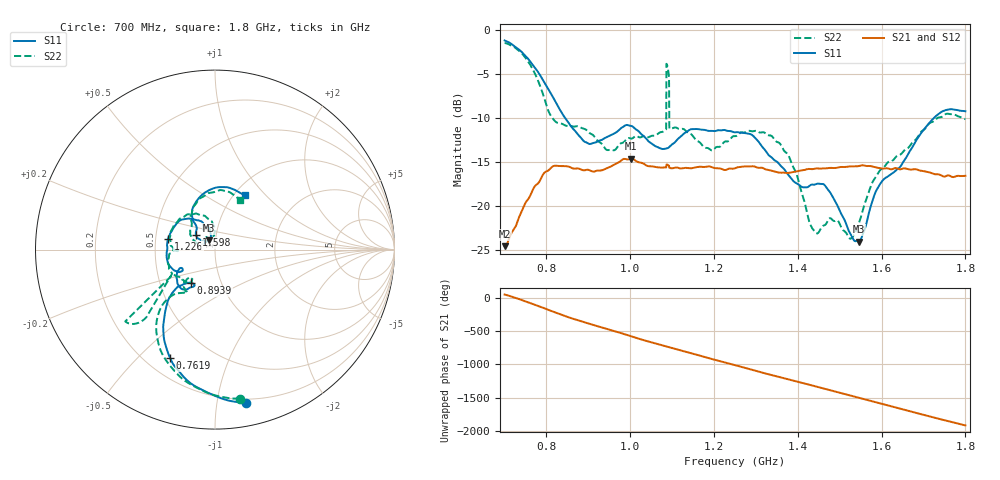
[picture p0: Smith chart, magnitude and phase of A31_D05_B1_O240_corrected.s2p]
! Created with skrf 1.9.0 (http://scikit-rf.org).
# Hz S RI R 50.0
!freq ReS11 ImS11 ReS21 ImS21 ReS12 ImS12 ReS22 ImS22
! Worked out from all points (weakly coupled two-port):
!   1601 points, 700 MHz to 1.8 GHz, reference 50 ohm
!   highest |S21| = -14.64 dB at 1.002 GHz (marker M1); lowest = -24.6 dB at 700 MHz (marker M2)
!   lowest |S11| = -24.1 dB at 1.546 GHz (marker M3), VSWR 1.13, Z = 46.3 + j4.79 ohm
!   |S11| at or under -10 dB: 844.1 MHz to 1.726 GHz (881.4 MHz wide, 68.6 % of centre)
!   |S22| runs from -23.8 to -1.5 dB; largest |S21 - S12| = 0.0034
!   S11 on the Smith chart (normalised r, x): 700 MHz: 0.17, -1.20; 761.9 MHz: 0.30, -0.63; 893.9 MHz: 0.72, -0.28; 1.226 GHz: 0.58, +0.07; 1.598 GHz: 0.80, +0.13; 1.8 GHz: 1.12, +0.77
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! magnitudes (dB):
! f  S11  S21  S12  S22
! 700 MHz  -1.2  -24.6  -24.4  -1.5
! 761.9 MHz  -3.7  -18.8  -18.7  -4.0
! 816.2 MHz  -7.7  -15.5  -15.6  -10.2
! 883.6 MHz  -12.4  -15.9  -15.8  -11.2
! 893.9 MHz  -12.8  -15.9  -16.0  -11.3
! 946.8 MHz  -12.1  -15.7  -15.7  -13.7
! 1.002 GHz  -10.9  -14.6  -14.7  -12.4
! 1.067 GHz  -13.4  -15.6  -15.6  -11.8
! 1.08 GHz  -13.5  -15.7  -15.7  -11.5
! 1.087 GHz  -13.5  -15.3  -15.3  -3.9
! 1.092 GHz  -13.4  -15.4  -15.4  -5.1
! 1.099 GHz  -13.1  -15.7  -15.7  -11.2
! 1.226 GHz  -11.4  -15.9  -15.9  -12.7
! 1.25 GHz  -11.7  -15.7  -15.7  -12.1
! 1.358 GHz  -15.4  -16.2  -16.2  -13.0
! 1.434 GHz  -17.6  -15.8  -15.8  -22.5
! 1.467 GHz  -17.8  -15.8  -15.7  -22.1
! 1.546 GHz  -24.1  -15.5  -15.5  -21.9
! 1.598 GHz  -17.4  -15.8  -15.7  -15.9
! 1.617 GHz  -16.6  -15.8  -15.7  -15.0
! 1.733 GHz  -9.7  -16.4  -16.5  -10.0
! 1.8 GHz  -9.3  -16.6  -16.6  -10.2
